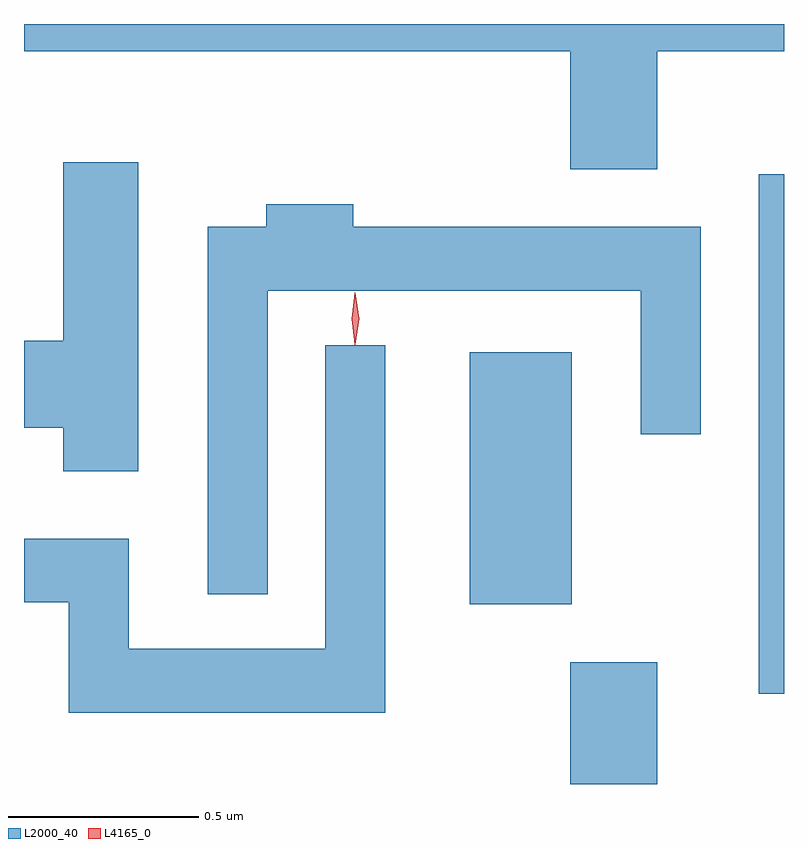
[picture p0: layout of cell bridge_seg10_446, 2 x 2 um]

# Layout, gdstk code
import gdstk
lib = gdstk.Library(unit=1e-6, precision=1e-09)
def R(c, l, rs):  # rectangles x0, y0, x1, y1
    for r in rs: c.add(gdstk.rectangle(r[:2], r[2:], *l))
def P(c, l, *ps):  # polygons
    for p in ps: c.add(gdstk.Polygon(p, *l))
L2000_40 = (2000, 40)
L4165_0 = (4165, 0)

bridge_seg10_446 = lib.new_cell('bridge_seg10_446')
R(bridge_seg10_446, L2000_40, [(1382.131,2092.008,1382.359,2092.329), (1382.626,2092.246,1382.693,2093.613), (1381.866,2092.481,1382.134,2093.144)])
P(bridge_seg10_446, L2000_40, [(1382.359,2093.936),(1382.693,2093.936),(1382.693,2094.008),(1380.693,2094.008),(1380.693,2093.936),(1382.131,2093.936),(1382.131,2093.626),(1382.359,2093.626)],
  [(1380.994,2093.644),(1380.796,2093.644),(1380.796,2093.174),(1380.693,2093.174),(1380.693,2092.946),(1380.796,2092.946),(1380.796,2092.831),(1380.994,2092.831)],
  [(1381.334,2093.306),(1382.316,2093.306),(1382.316,2092.928),(1382.474,2092.928),(1382.474,2093.474),(1381.559,2093.474),(1381.559,2093.534),(1381.331,2093.534),(1381.331,2093.474),(1381.176,2093.474),(1381.176,2092.508),(1381.334,2092.508)],
  [(1381.644,2093.163),(1381.486,2093.163),(1381.486,2092.364),(1380.969,2092.364),(1380.969,2092.654),(1380.693,2092.654),(1380.693,2092.486),(1380.811,2092.486),(1380.811,2092.196),(1381.644,2092.196)])
P(bridge_seg10_446, L4165_0, [(1381.564,2093.164),(1381.555,2093.233),(1381.564,2093.301),(1381.564,2093.302),(1381.565,2093.301),(1381.575,2093.233),(1381.565,2093.164),(1381.565,2093.164)],
  [(1381.564,2093.167),(1381.555,2093.233),(1381.564,2093.299),(1381.565,2093.299),(1381.565,2093.299),(1381.575,2093.233),(1381.565,2093.167),(1381.565,2093.167)])

lib.write_gds('bridge_seg10_446.gds')
